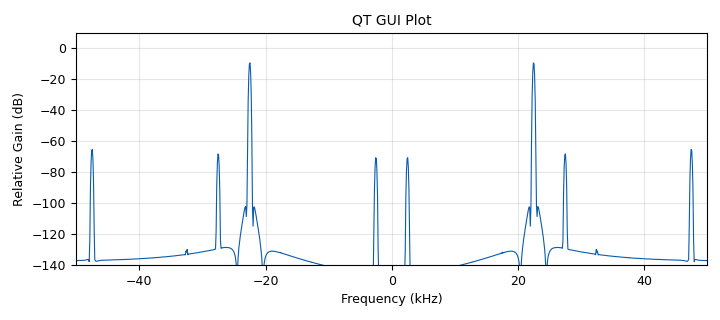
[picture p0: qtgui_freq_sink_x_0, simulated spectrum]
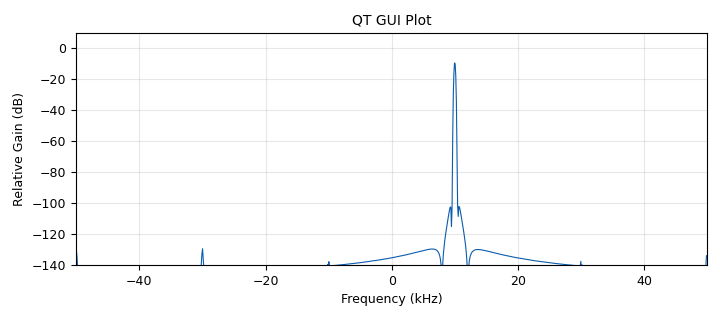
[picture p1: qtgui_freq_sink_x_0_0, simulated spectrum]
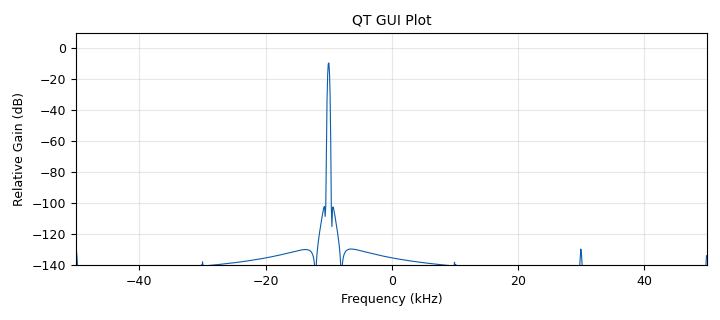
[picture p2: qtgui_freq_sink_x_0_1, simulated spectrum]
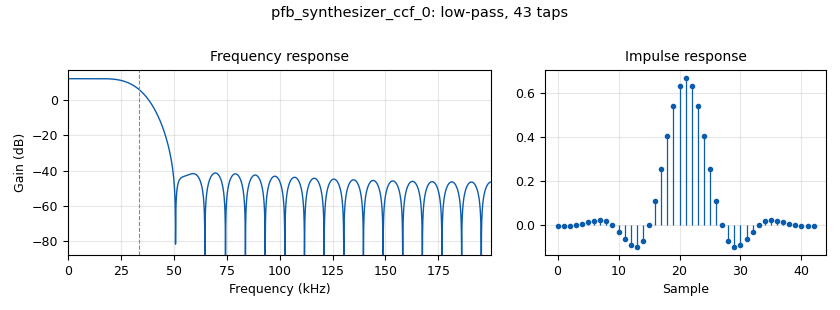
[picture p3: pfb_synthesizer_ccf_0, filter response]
options:
  parameters:
    category: Custom
    generate_options: qt_gui
    id: ofdm_channelizer_tx
    output_language: python
  states: {}

blocks:
- name: samp_rate
  id: variable
  parameters:
    value: 100e3
  states: {}
- name: taps
  id: variable
  parameters:
    value: firdes.low_pass_2(4, 4*samp_rate, samp_rate/3.0, samp_rate/4.0, 60)
  states: {}
- name: analog_sig_source_x_0
  id: analog_sig_source_x
  parameters:
    amp: '1'
    freq: '10000'
    offset: '0'
    phase: '0'
    samp_rate: samp_rate
    type: complex
    waveform: analog.GR_COS_WAVE
  states: {}
- name: analog_sig_source_x_0_0
  id: analog_sig_source_x
  parameters:
    amp: '1'
    freq: '-10000'
    offset: '0'
    phase: '0'
    samp_rate: samp_rate
    type: complex
    waveform: analog.GR_COS_WAVE
  states: {}
- name: blocks_throttle2_0
  id: blocks_throttle2
  parameters:
    samples_per_second: samp_rate
    type: complex
  states: {}
- name: blocks_throttle2_0_0
  id: blocks_throttle2
  parameters:
    samples_per_second: samp_rate
    type: complex
  states: {}
- name: blocks_throttle2_0_1
  id: blocks_throttle2
  parameters:
    samples_per_second: samp_rate
    type: complex
  states: {}
- name: pfb_synthesizer_ccf_0
  id: pfb_synthesizer_ccf
  parameters:
    ch_map: '[3,1,0,2]'
    numchans: '4'
    taps: taps
    twox: 'False'
  states: {}
- name: qtgui_freq_sink_x_0
  id: qtgui_freq_sink_x
  parameters:
    bw: samp_rate
    fc: '0'
    fftsize: '1024'
    name: QT GUI Plot
    type: complex
    width1: '2'
  states: {}
- name: qtgui_freq_sink_x_0_0
  id: qtgui_freq_sink_x
  parameters:
    bw: samp_rate
    fc: '0'
    fftsize: '1024'
    name: QT GUI Plot
    type: complex
    width1: '2'
  states: {}
- name: qtgui_freq_sink_x_0_1
  id: qtgui_freq_sink_x
  parameters:
    bw: samp_rate
    fc: '0'
    fftsize: '1024'
    name: QT GUI Plot
    type: complex
    width1: '2'
  states: {}

connections:
- [analog_sig_source_x_0, '0', blocks_throttle2_0_0, '0']
- [analog_sig_source_x_0, '0', pfb_synthesizer_ccf_0, '0']
- [analog_sig_source_x_0_0, '0', blocks_throttle2_0_1, '0']
- [analog_sig_source_x_0_0, '0', pfb_synthesizer_ccf_0, '1']
- [blocks_throttle2_0, '0', qtgui_freq_sink_x_0, '0']
- [blocks_throttle2_0_0, '0', qtgui_freq_sink_x_0_0, '0']
- [blocks_throttle2_0_1, '0', qtgui_freq_sink_x_0_1, '0']
- [pfb_synthesizer_ccf_0, '0', blocks_throttle2_0, '0']

metadata:
  file_format: 1
  grc_version: 3.10.7.0
